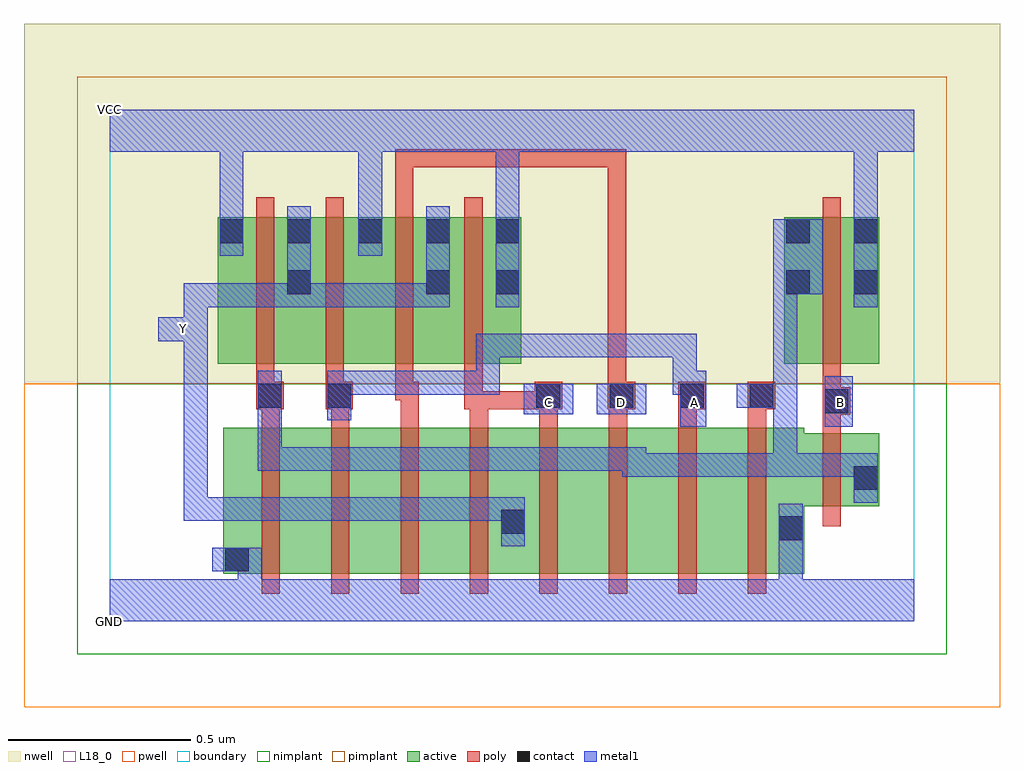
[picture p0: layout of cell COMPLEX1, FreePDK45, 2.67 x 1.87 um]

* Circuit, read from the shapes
.subckt COMPLEX1 A B C D GND VCC Y
M1 n1 n2 GND VSUBS nfet w=0.4u l=0.05u
M2 n3 A n1 VSUBS nfet w=0.4u l=0.05u
M3 n4 D n3 VSUBS nfet w=0.4u l=0.05u
M4 Y C n4 VSUBS nfet w=0.4u l=0.05u
M5 n5 C Y VSUBS nfet w=0.4u l=0.05u
M6 n6 D n5 VSUBS nfet w=0.4u l=0.05u
M7 n7 A n6 VSUBS nfet w=0.4u l=0.05u
M8 GND n2 n7 VSUBS nfet w=0.4u l=0.05u
M9 n2 B GND VSUBS nfet w=0.2u l=0.05u
M10 Y n2 VCC n8 pfet w=0.4u l=0.05u
M11 VCC A Y n8 pfet w=0.4u l=0.05u
M12 Y D VCC n8 pfet w=0.4u l=0.05u
M13 VCC C Y n8 pfet w=0.4u l=0.05u
M14 VCC B n2 n8 pfet w=0.4u l=0.05u
.ends

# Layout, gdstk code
import gdstk
lib = gdstk.Library(unit=1e-6, precision=1e-09)
def R(c, l, rs):  # rectangles x0, y0, x1, y1
    for r in rs: c.add(gdstk.rectangle(r[:2], r[2:], *l))
def A(c, l, x, y, w, h, nx, ny, dx, dy):  # array of equal rectangles
    R(c, l, [(x+i*dx, y+j*dy, x+i*dx+w, y+j*dy+h) for i in range(nx) for j in range(ny)])
active = (1, 0)
pwell = (2, 0)
nwell = (3, 0)
nimplant = (4, 0)
pimplant = (5, 0)
poly = (9, 0)
contact = (10, 0)
metal1 = (11, 0)
L18_0 = (18, 0)
boundary = (235, 0)

complex1 = lib.new_cell('COMPLEX1')
R(complex1, active, [(0.31,0.13,0.535,0.53), (0.31,0.13,0.385,0.53), (0.535,0.13,0.725,0.53), (0.725,0.13,0.915,0.53), (0.915,0.13,1.14,0.53), (1.065,0.13,1.295,0.53), (1.295,0.13,1.485,0.53), (1.485,0.13,1.675,0.53), (1.675,0.13,1.9,0.53), (1.825,0.13,1.9,0.315), (1.065,0.195,1.14,0.492), (1.825,0.315,2.105,0.515), (2.03,0.315,2.105,0.515), (0.295,0.705,0.37,1.105), (0.295,0.705,0.555,1.105), (0.48,0.705,0.555,1.105), (0.48,0.705,0.75,1.105), (0.675,0.705,0.935,1.105), (0.86,0.705,1.125,1.105), (1.845,0.705,1.92,1.105), (1.845,0.705,2.105,1.105), (2.03,0.705,2.105,1.105), (1.05,0.782,1.125,1.105), (0.675,0.802,0.75,1.105), (0.86,0.862,0.935,1.105)])
R(complex1, pwell, [(-0.235,-0.235,2.435,0.65)])
R(complex1, nwell, [(-0.235,0.65,2.435,1.635)])
R(complex1, nimplant, [(-0.09,-0.09,2.29,0.65)])
R(complex1, pimplant, [(-0.09,0.65,2.29,1.49)])
A(complex1, poly, 0.415, 0.075, 0.05, 0.51, 8, 1, 0.19, 0)
A(complex1, poly, 0.985, 0.535, 0.05, 0.095, 5, 1, 0.19, 0)
A(complex1, poly, 0.4, 0.605, 0.05, 0.095, 3, 1, 0.19, 0)
A(complex1, poly, 0.4, 0.65, 0.05, 0.51, 4, 1, 0.19, 0)
R(complex1, poly, [(1.95,0.26,2,0.57), (1.95,0.52,2,0.615), (0.415,0.535,0.465,0.63), (0.605,0.535,0.655,0.63), (0.795,0.535,0.845,0.655), (1.95,0.565,2.025,0.64), (0.4,0.58,0.475,0.655), (0.59,0.58,0.665,0.655), (0.97,0.58,1.02,0.7), (0.97,0.58,1.035,0.63), (0.985,0.58,1.035,0.63), (0.985,0.58,1.035,0.63), (0.985,0.58,1.212,0.63), (1.162,0.58,1.237,0.655), (1.362,0.58,1.437,0.655), (1.555,0.58,1.63,0.655), (1.745,0.58,1.82,0.655), (1.95,0.59,2,0.7), (0.78,0.605,0.845,0.655), (1.362,0.605,1.412,1.292), (1.95,0.65,2,1.16), (0.78,1.11,0.83,1.292), (0.78,1.242,0.83,1.292), (0.78,1.242,0.83,1.292), (0.78,1.242,0.83,1.292), (0.78,1.242,1.08,1.292), (1.03,1.242,1.08,1.292), (1.03,1.242,1.08,1.292), (1.03,1.242,1.08,1.292), (1.03,1.242,1.28,1.292), (1.23,1.242,1.28,1.292), (1.23,1.242,1.28,1.292), (1.23,1.242,1.28,1.292), (1.23,1.242,1.28,1.292), (1.23,1.242,1.28,1.292), (1.23,1.242,1.28,1.292), (1.23,1.242,1.28,1.292), (1.23,1.242,1.28,1.292), (1.23,1.242,1.28,1.292), (1.23,1.242,1.412,1.292), (1.362,1.242,1.412,1.292), (1.362,1.242,1.412,1.292), (1.362,1.242,1.412,1.292)])
R(complex1, contact, [(0.315,0.137,0.38,0.202), (1.83,0.222,1.895,0.287), (1.07,0.24,1.135,0.305), (2.035,0.36,2.1,0.425), (1.955,0.57,2.02,0.635), (0.405,0.585,0.47,0.65), (0.595,0.585,0.66,0.65), (1.167,0.585,1.232,0.65), (1.367,0.585,1.432,0.65), (1.56,0.585,1.625,0.65), (1.75,0.585,1.815,0.65), (0.485,0.895,0.55,0.96), (0.865,0.895,0.93,0.96), (1.055,0.895,1.12,0.96), (1.85,0.895,1.915,0.96), (2.035,0.895,2.1,0.96), (0.3,1.035,0.365,1.1), (0.485,1.035,0.55,1.1), (0.68,1.035,0.745,1.1), (0.865,1.035,0.93,1.1), (1.055,1.035,1.12,1.1), (1.85,1.035,1.915,1.1), (2.035,1.035,2.1,1.1)])
R(complex1, metal1, [(0,0,2.2,0.115), (0.35,0.05,0.415,0.202), (1.83,0.05,1.895,0.252), (0.28,0.137,0.415,0.202), (1.83,0.187,1.895,0.322), (1.07,0.205,1.135,0.34), (0.202,0.275,0.267,0.34), (0.202,0.275,0.267,0.34), (0.202,0.275,0.267,0.34), (0.202,0.275,0.607,0.34), (0.202,0.275,0.267,0.832), (0.542,0.275,0.607,0.34), (0.542,0.275,0.607,0.34), (0.542,0.275,0.607,0.34), (0.542,0.275,0.745,0.34), (0.68,0.275,0.745,0.34), (0.68,0.275,0.797,0.34), (0.732,0.275,0.797,0.34), (0.732,0.275,0.882,0.34), (0.817,0.275,0.882,0.34), (0.817,0.275,1.02,0.34), (0.955,0.275,1.02,0.34), (0.955,0.275,1.135,0.34), (2.035,0.325,2.1,0.46), (1.402,0.395,1.605,0.46), (1.402,0.395,1.467,0.477), (1.54,0.395,1.605,0.46), (1.54,0.395,1.605,0.46), (1.54,0.395,1.605,0.46), (1.54,0.395,1.742,0.46), (1.677,0.395,1.742,0.46), (1.677,0.395,1.88,0.46), (1.815,0.395,1.88,0.46), (1.815,0.395,1.88,0.46), (1.815,0.395,1.88,0.46), (1.815,0.395,2.1,0.46), (1.815,0.395,1.88,0.65), (2.035,0.395,2.1,0.46), (2.035,0.395,2.1,0.46), (0.405,0.412,0.47,0.477), (0.405,0.412,0.66,0.477), (0.405,0.412,0.47,0.615), (0.595,0.412,0.66,0.477), (0.595,0.412,0.745,0.477), (0.68,0.412,0.745,0.477), (0.68,0.412,0.882,0.477), (0.817,0.412,0.882,0.477), (0.817,0.412,0.882,0.477), (0.817,0.412,0.882,0.477), (0.817,0.412,1.02,0.477), (0.955,0.412,1.02,0.477), (0.955,0.412,1.02,0.477), (0.955,0.412,1.02,0.477), (0.955,0.412,1.26,0.477), (1.195,0.412,1.26,0.477), (1.195,0.412,1.467,0.477), (1.402,0.412,1.467,0.477), (1.402,0.412,1.467,0.477), (1.56,0.532,1.632,0.685), (1.955,0.532,2.032,0.67), (0.405,0.55,0.47,0.615), (0.405,0.55,0.47,0.615), (0.405,0.55,0.47,0.685), (0.595,0.55,0.66,0.685), (1.132,0.567,1.267,0.65), (1.332,0.567,1.467,0.65), (1.715,0.585,1.85,0.65), (1.785,0.585,1.88,0.65), (1.815,0.585,1.88,0.65), (1.815,0.585,1.88,0.96), (0.595,0.62,0.745,0.685), (0.68,0.62,0.745,0.685), (0.68,0.62,0.797,0.685), (0.732,0.62,0.797,0.685), (0.732,0.62,0.882,0.685), (0.817,0.62,0.882,0.685), (0.817,0.62,1.02,0.685), (0.955,0.62,1.02,0.685), (0.955,0.62,1.067,0.685), (1.002,0.62,1.067,0.685), (1.002,0.62,1.067,0.787), (1.54,0.62,1.605,0.685), (1.54,0.62,1.625,0.685), (1.54,0.62,1.605,0.787), (1.002,0.722,1.067,0.787), (1.002,0.722,1.157,0.787), (1.092,0.722,1.157,0.787), (1.092,0.722,1.397,0.787), (1.332,0.722,1.397,0.787), (1.332,0.722,1.397,0.787), (1.332,0.722,1.397,0.787), (1.332,0.722,1.605,0.787), (1.54,0.722,1.605,0.787), (0.132,0.767,0.267,0.832), (0.202,0.767,0.267,0.832), (0.202,0.767,0.267,0.832), (0.202,0.767,0.267,0.925), (0.202,0.86,0.267,0.925), (0.202,0.86,0.267,0.925), (0.202,0.86,0.267,0.925), (0.202,0.86,0.55,0.925), (0.485,0.86,0.55,1.135), (0.485,0.86,0.66,0.925), (0.595,0.86,0.66,0.925), (0.595,0.86,0.745,0.925), (0.68,0.86,0.745,0.925), (0.68,0.86,0.797,0.925), (0.732,0.86,0.797,0.925), (0.732,0.86,0.93,0.925), (0.865,0.86,0.93,1.135), (1.055,0.86,1.12,1.135), (2.035,0.86,2.1,1.135), (1.815,0.895,1.95,1.1), (0.3,1,0.365,1.135), (0.68,1,0.745,1.135), (0.3,1.07,0.365,1.35), (0.3,1.07,0.365,1.135), (0.3,1.07,0.365,1.135), (0.68,1.07,0.745,1.35), (0.68,1.07,0.745,1.135), (0.68,1.07,0.745,1.135), (1.055,1.07,1.12,1.35), (1.055,1.07,1.12,1.135), (1.055,1.07,1.12,1.135), (2.035,1.07,2.1,1.35), (0,1.285,2.2,1.4), (2.035,1.285,2.1,1.35), (2.035,1.285,2.1,1.35)])
A(complex1, L18_0, 1.167, 0.567, 0.065, 0.065, 3, 1, 0.2, 0)
R(complex1, L18_0, [(0,0,2.2,0.115), (0.35,0.05,0.415,0.202), (1.83,0.05,1.895,0.252), (0.28,0.137,0.415,0.202), (1.83,0.187,1.895,0.322), (1.07,0.205,1.135,0.34), (0.202,0.275,0.267,0.34), (0.202,0.275,0.267,0.34), (0.202,0.275,0.267,0.34), (0.202,0.275,0.267,0.832), (0.202,0.275,0.607,0.34), (0.542,0.275,0.607,0.34), (0.542,0.275,0.607,0.34), (0.542,0.275,0.607,0.34), (0.542,0.275,0.745,0.34), (0.68,0.275,0.745,0.34), (0.68,0.275,0.797,0.34), (0.732,0.275,0.797,0.34), (0.732,0.275,0.882,0.34), (0.817,0.275,0.882,0.34), (0.817,0.275,1.02,0.34), (0.955,0.275,1.02,0.34), (0.955,0.275,1.135,0.34), (1.56,0.532,1.632,0.685), (1.955,0.532,2.032,0.67), (0.595,0.55,0.66,0.685), (1.132,0.567,1.267,0.65), (1.332,0.567,1.467,0.65), (1.967,0.567,2.032,0.632), (0.595,0.62,0.745,0.685), (0.68,0.62,0.745,0.685), (0.68,0.62,0.797,0.685), (0.732,0.62,0.797,0.685), (0.732,0.62,0.882,0.685), (0.817,0.62,0.882,0.685), (0.817,0.62,1.02,0.685), (0.955,0.62,1.02,0.685), (0.955,0.62,1.067,0.685), (1.002,0.62,1.067,0.685), (1.002,0.62,1.067,0.787), (1.54,0.62,1.605,0.685), (1.54,0.62,1.605,0.787), (1.54,0.62,1.625,0.685), (1.002,0.722,1.067,0.787), (1.002,0.722,1.157,0.787), (1.092,0.722,1.157,0.787), (1.092,0.722,1.397,0.787), (1.332,0.722,1.397,0.787), (1.332,0.722,1.397,0.787), (1.332,0.722,1.397,0.787), (1.332,0.722,1.605,0.787), (1.54,0.722,1.605,0.787), (0.132,0.767,0.267,0.832), (0.167,0.767,0.232,0.832), (0.202,0.767,0.267,0.832), (0.202,0.767,0.267,0.832), (0.202,0.767,0.267,0.925), (0.202,0.86,0.267,0.925), (0.202,0.86,0.267,0.925), (0.202,0.86,0.267,0.925), (0.202,0.86,0.55,0.925), (0.485,0.86,0.55,1.135), (0.485,0.86,0.66,0.925), (0.595,0.86,0.66,0.925), (0.595,0.86,0.745,0.925), (0.68,0.86,0.745,0.925), (0.68,0.86,0.797,0.925), (0.732,0.86,0.797,0.925), (0.732,0.86,0.93,0.925), (0.865,0.86,0.93,1.135), (1.055,0.86,1.12,1.135), (2.035,0.86,2.1,1.135), (0.3,1,0.365,1.135), (0.68,1,0.745,1.135), (0.3,1.07,0.365,1.135), (0.3,1.07,0.365,1.135), (0.3,1.07,0.365,1.35), (0.68,1.07,0.745,1.135), (0.68,1.07,0.745,1.135), (0.68,1.07,0.745,1.35), (1.055,1.07,1.12,1.135), (1.055,1.07,1.12,1.135), (1.055,1.07,1.12,1.35), (2.035,1.07,2.1,1.35), (0,1.285,2.2,1.4), (2.035,1.285,2.1,1.35), (2.035,1.285,2.1,1.35)])
R(complex1, boundary, [(0,0,2.2,1.4)])
complex1.add(gdstk.Label('A', (1.6,0.6), layer=11, texttype=0))
complex1.add(gdstk.Label('B', (2,0.6), layer=11, texttype=0))
complex1.add(gdstk.Label('C', (1.2,0.6), layer=11, texttype=0))
complex1.add(gdstk.Label('D', (1.4,0.6), layer=11, texttype=0))
complex1.add(gdstk.Label('Y', (0.2,0.8), layer=11, texttype=0))
complex1.add(gdstk.Label('VCC', (0,1.4), layer=11, texttype=0))
complex1.add(gdstk.Label('GND', (0,0), layer=11, texttype=0))

lib.write_gds('COMPLEX1.gds')
